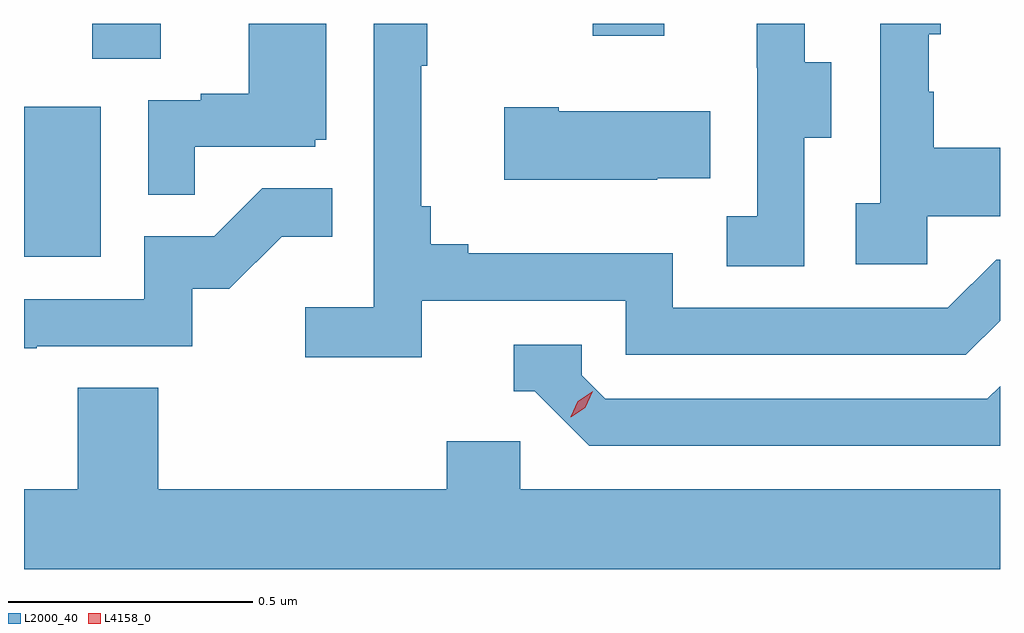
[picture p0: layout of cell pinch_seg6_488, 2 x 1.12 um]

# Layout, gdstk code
import gdstk
lib = gdstk.Library(unit=1e-6, precision=1e-09)
def R(c, l, rs):  # rectangles x0, y0, x1, y1
    for r in rs: c.add(gdstk.rectangle(r[:2], r[2:], *l))
def P(c, l, *ps):  # polygons
    for p in ps: c.add(gdstk.Polygon(p, *l))
L2000_40 = (2000, 40)
L4158_0 = (4158, 0)

pinch_seg6_488 = lib.new_cell('pinch_seg6_488')
R(pinch_seg6_488, L2000_40, [(868.401,917.34,868.558,917.647), (868.541,917.746,868.681,917.817), (869.566,917.793,869.713,917.817)])
P(pinch_seg6_488, L2000_40, [(868.751,917.565),(868.998,917.565),(868.998,917.58),(869.02,917.58),(869.02,917.817),(868.862,917.817),(868.862,917.674),(868.763,917.674),(868.763,917.661),(868.656,917.661),(868.656,917.467),(868.751,917.467)],
  [(870,917.584),(870.055,917.584),(870.055,917.739),(870.001,917.739),(870.001,917.817),(869.903,917.817),(869.903,917.727),(869.904,917.727),(869.904,917.423),(869.841,917.423),(869.841,917.32),(870,917.32)],
  [(870.252,917.423),(870.401,917.423),(870.401,917.563),(870.265,917.563),(870.265,917.678),(870.255,917.678),(870.255,917.796),(870.28,917.796),(870.28,917.817),(870.156,917.817),(870.156,917.45),(870.105,917.45),(870.105,917.325),(870.252,917.325)],
  [(869.216,917.25),(869.634,917.25),(869.634,917.139),(870.331,917.139),(870.401,917.209),(870.401,917.334),(870.393,917.334),(870.294,917.235),(869.73,917.235),(869.73,917.347),(869.311,917.347),(869.311,917.366),(869.234,917.366),(869.234,917.443),(869.215,917.443),(869.215,917.731),(869.227,917.731),(869.227,917.817),(869.118,917.817),(869.118,917.236),(868.977,917.236),(868.977,917.134),(869.216,917.134)],
  [(869.699,917.501),(869.807,917.501),(869.807,917.638),(869.497,917.638),(869.497,917.646),(869.385,917.646),(869.385,917.498),(869.699,917.498)],
  [(868.427,917.157),(868.746,917.157),(868.746,917.274),(868.822,917.274),(868.929,917.381),(869.033,917.381),(869.033,917.48),(868.889,917.48),(868.791,917.382),(868.647,917.382),(868.647,917.253),(868.401,917.253),(868.401,917.152),(868.427,917.152)],
  [(870.401,917.075),(870.375,917.049),(869.592,917.049),(869.544,917.097),(869.544,917.16),(869.405,917.16),(869.405,917.064),(869.448,917.064),(869.559,916.953),(870.401,916.953)],
  [(870.401,916.864),(869.418,916.864),(869.418,916.962),(869.267,916.962),(869.267,916.864),(868.676,916.864),(868.676,917.072),(868.511,917.072),(868.511,916.864),(868.401,916.864),(868.401,916.7),(870.401,916.7)])
P(pinch_seg6_488, L4158_0, [(869.521,917.011),(869.521,917.012),(869.536,917.044),(869.566,917.064),(869.566,917.064),(869.566,917.064),(869.551,917.031),(869.521,917.011)])

lib.write_gds('pinch_seg6_488.gds')
